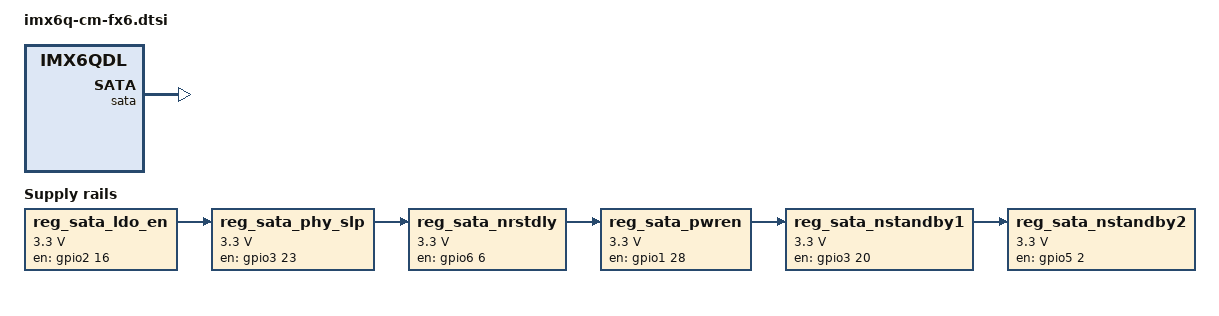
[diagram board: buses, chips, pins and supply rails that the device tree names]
/*
 * Copyright 2014 CompuLab Ltd.
 *
 * Author: Valentin Raevsky <valentin@compulab.co.il>
 *
 * The code contained herein is licensed under the GNU General Public
 * License. You may obtain a copy of the GNU General Public License
 * Version 2 or later at the following locations:
 *
 * http://www.opensource.org/licenses/gpl-license.html
 * http://www.gnu.org/copyleft/gpl.html
 */

#include "imx6qdl-cm-fx6.dtsi"

/ {
	regulators {
		compatible = "simple-bus";
		#address-cells = <1>;
		#size-cells = <0>;

		reg_sata_ldo_en: sata_ldo_en {
			compatible = "regulator-fixed";
			regulator-name = "cm_fx6_sata_ldo_en";
			regulator-min-microvolt = <3300000>;
			regulator-max-microvolt = <3300000>;
			gpio = <&gpio2 16 0>;
			startup-delay-us = <100>;
			regulator-boot-on;
			enable-active-high;
		};

		reg_sata_phy_slp: sata_phy_slp {
			compatible = "regulator-fixed";
			regulator-name = "cm_fx6_sata_phy_slp";
			regulator-min-microvolt = <3300000>;
			regulator-max-microvolt = <3300000>;
			gpio = <&gpio3 23 0>;
			startup-delay-us = <100>;
			enable-active-high;
			regulator-boot-on;
			vin-supply = <&reg_sata_ldo_en>;
		};

		reg_sata_nrstdly: sata_nrstdly {
			compatible = "regulator-fixed";
			regulator-name = "cm_fx6_sata_nrstdly";
			regulator-min-microvolt = <3300000>;
			regulator-max-microvolt = <3300000>;
			gpio = <&gpio6 6 0>;
			startup-delay-us = <100>;
			enable-active-high;
			regulator-boot-on;
			vin-supply = <&reg_sata_phy_slp>;
		};

		reg_sata_pwren: sata_pwren {
			compatible = "regulator-fixed";
			regulator-name = "cm_fx6_sata_pwren";
			regulator-min-microvolt = <3300000>;
			regulator-max-microvolt = <3300000>;
			gpio = <&gpio1 28 0>;
			startup-delay-us = <100>;
			enable-active-high;
			regulator-boot-on;
			vin-supply = <&reg_sata_nrstdly>;
		};

		reg_sata_nstandby1: sata_nstandby1 {
			compatible = "regulator-fixed";
			regulator-name = "cm_fx6_sata_nstandby1";
			regulator-min-microvolt = <3300000>;
			regulator-max-microvolt = <3300000>;
			gpio = <&gpio3 20 0>;
			startup-delay-us = <100>;
			enable-active-high;
			regulator-boot-on;
			vin-supply = <&reg_sata_pwren>;
		};

		reg_sata_nstandby2: sata_nstandby2 {
			compatible = "regulator-fixed";
			regulator-name = "cm_fx6_sata_nstandby2";
			regulator-min-microvolt = <3300000>;
			regulator-max-microvolt = <3300000>;
			gpio = <&gpio5 2 0>;
			startup-delay-us = <100>;
			enable-active-high;
			regulator-boot-on;
			vin-supply = <&reg_sata_nstandby1>;
		};

	};
};

/* sata */
&sata {
	status = "okay";
};
